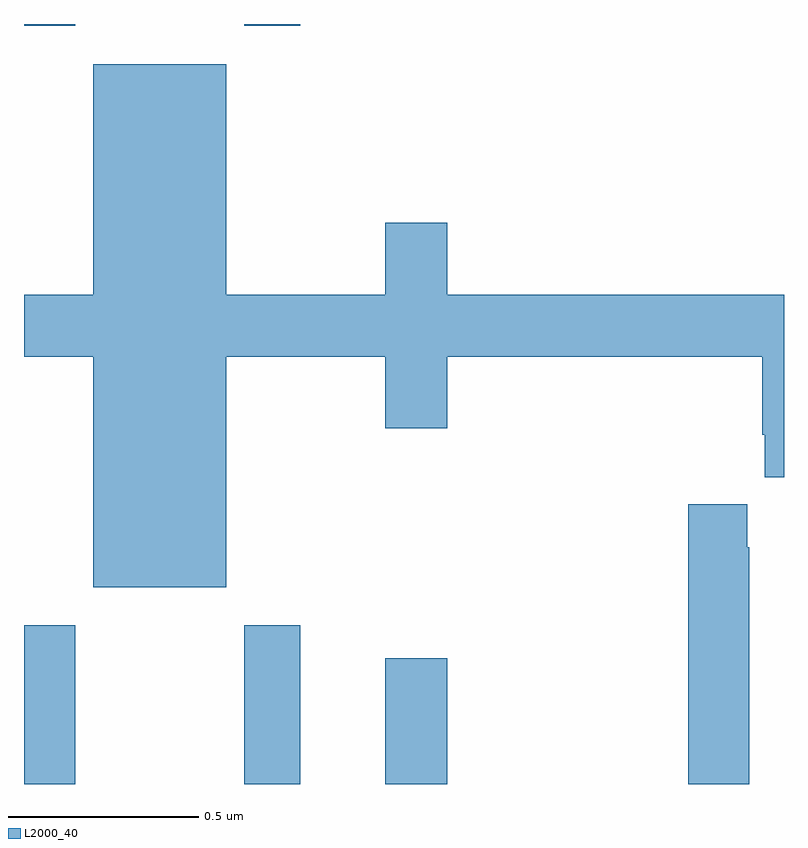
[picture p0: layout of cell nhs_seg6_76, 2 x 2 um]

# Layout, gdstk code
import gdstk
lib = gdstk.Library(unit=1e-6, precision=1e-09)
def R(c, l, rs):  # rectangles x0, y0, x1, y1
    for r in rs: c.add(gdstk.rectangle(r[:2], r[2:], *l))
def P(c, l, *ps):  # polygons
    for p in ps: c.add(gdstk.Polygon(p, *l))
L2000_40 = (2000, 40)

nhs_seg6_76 = lib.new_cell('nhs_seg6_76')
R(nhs_seg6_76, L2000_40, [(111,991.5,111.135,991.918), (111.58,991.5,111.727,991.918), (111.95,991.5,112.114,991.831), (111,993.495,111.135,993.5), (111.58,993.495,111.727,993.5)])
P(nhs_seg6_76, L2000_40, [(111.532,992.624),(111.95,992.624),(111.95,992.436),(112.114,992.436),(112.114,992.624),(112.943,992.624),(112.943,992.419),(112.949,992.419),(112.949,992.307),(113,992.307),(113,992.788),(112.114,992.788),(112.114,992.977),(111.95,992.977),(111.95,992.788),(111.532,992.788),(111.532,993.394),(111.182,993.394),(111.182,992.788),(111,992.788),(111,992.624),(111.182,992.624),(111.182,992.018),(111.532,992.018)],
  [(112.908,992.123),(112.903,992.123),(112.903,992.236),(112.748,992.236),(112.748,991.5),(112.908,991.5)])

lib.write_gds('nhs_seg6_76.gds')
